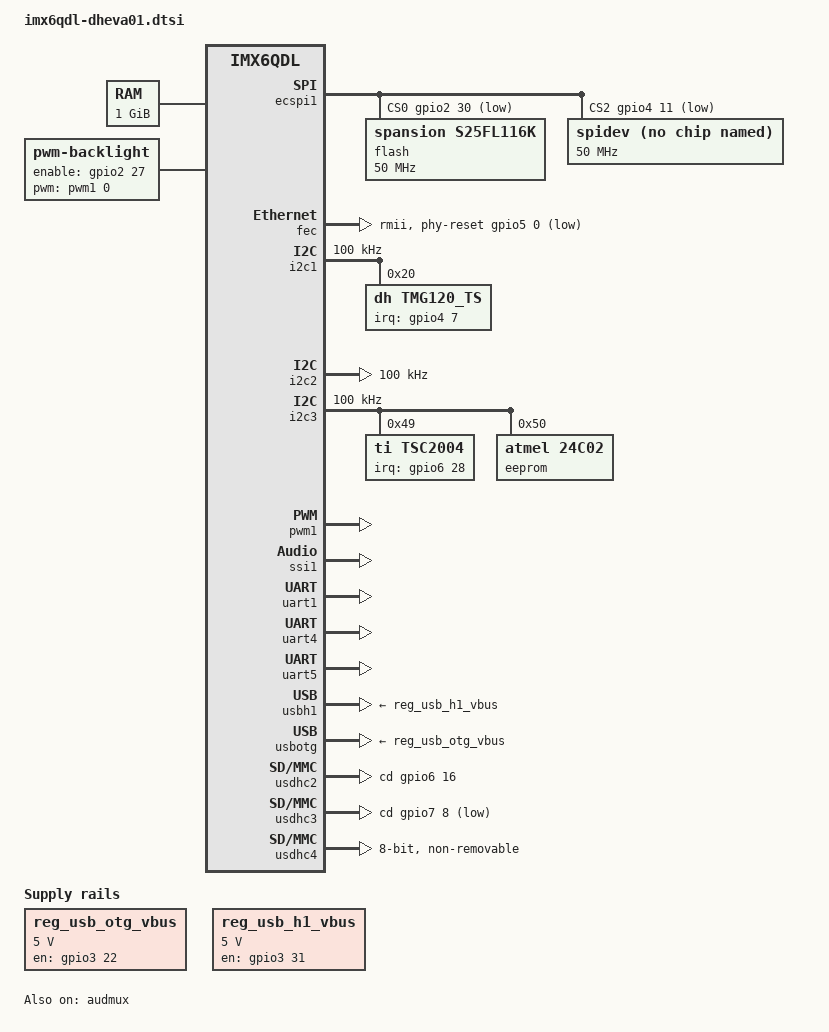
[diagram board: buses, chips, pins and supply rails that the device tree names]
/*
 * Copyright 2014 DH electronics GmbH
 * Copyright 2012 Freescale Semiconductor, Inc.
 * Copyright 2011 Linaro Ltd.
 *
 * The code contained herein is licensed under the GNU General Public
 * License. You may obtain a copy of the GNU General Public License
 * Version 2 or later at the following locations:
 *
 * http://www.opensource.org/licenses/gpl-license.html
 * http://www.gnu.org/copyleft/gpl.html
 */

/ {
	aliases {
		mxcfb0 = &mxcfb1;
		mxcfb1 = &mxcfb2;
		mxcfb2 = &mxcfb3;
		mxcfb3 = &mxcfb4;
	};

	memory {
		reg = <0x10000000 0x40000000>;				// 1GB DDR3 RAM
	};
/*
	display@di0 {
		compatible = "fsl,imx-parallel-display";
		crtcs = <&ipu1 0>;
		interface-pix-fmt = "rgb24";
		pinctrl-names = "default";
		pinctrl-0 = <&pinctrl_ipu1_1>;
		status = "okay";
		display-timings {
			native-mode = <&id_01>;
			id_01: DataImage_4_3inch_FG040360DSSWBG03_R05 {
				clock-frequency = <11100000>;
				hactive = <480>;
				vactive = <272>;
				hback-porch = <86>;
				hfront-porch = <42>;
				vback-porch = <33>;
				vfront-porch = <10>;
				hsync-len = <64>;
				vsync-len = <2>;
				hsync-active = <0>;
				vsync-active = <0>;
				de-active = <1>;
				pixelclk-active = <0>;
			};
			id_13: DataImage_7inch_FG0700G3DSSW {
				clock-frequency = <33260000>;
				hactive = <800>;
				vactive = <480>;
				hback-porch = <86>;
				hfront-porch = <42>;
				vback-porch = <33>;
				vfront-porch = <10>;
				hsync-len = <128>;
				vsync-len = <2>;
				hsync-active = <0>;
				vsync-active = <0>;
				de-active = <1>;
				pixelclk-active = <1>;
			};
			id_10: LG_7inch_LB070WV8 {
				clock-frequency = <33250000>;
				hactive = <800>;
				vactive = <480>;
				hback-porch = <64>;
				hfront-porch = <64>;
				vback-porch = <10>;
				vfront-porch = <10>;
				hsync-len = <128>;
				vsync-len = <25>;
				hsync-active = <1>;
				vsync-active = <1>;
				de-active = <1>;
				pixelclk-active = <0>;
			};
		};
	};*/

	regulators {
		compatible = "simple-bus";

		reg_usb_otg_vbus: usb_otg_vbus {
			compatible = "regulator-fixed";
			regulator-name = "usb_otg_vbus";
			regulator-min-microvolt = <5000000>;
			regulator-max-microvolt = <5000000>;
			gpio = <&gpio3 22 0>;				// OTG ID pin
			enable-active-high;
		};

		reg_usb_h1_vbus: usb_h1_vbus {
			compatible = "regulator-fixed";
			regulator-name = "usb_h1_vbus";
			regulator-min-microvolt = <5000000>;
			regulator-max-microvolt = <5000000>;
			gpio = <&gpio3 31 0>;
			enable-active-high;
		};
	};

	/* TODO GPIOs */
	/*
	gpio-keys {
		compatible = "gpio-keys";

		volume-up {
			label = "Volume Up";
			gpios = <&gpio1 4 0>;
			gpio-key,wakeup;
			linux,code = <115>; 	// KEY_VOLUMEUP
		};

		volume-down {
			label = "Volume Down";
			gpios = <&gpio1 5 0>;
			gpio-key,wakeup;
			linux,code = <114>;	// KEY_VOLUMEDOWN
		};
	};*/

	/* TODO Audio */
	/*
	sound {								// Audio SGTL5000XNAA3/R2
		compatible = "fsl,imx-audio-sgtl5000";
		model = "sgtl5000-audio";
		ssi-controller = <&ssi1>;
		audio-codec = <&codec>;
		audio-routing =
			"Headphone Jack", "HPOUTL",
			"Headphone Jack", "HPOUTR",
			"Ext Spk", "SPKOUTL",
			"Ext Spk", "SPKOUTR",
			"MICBIAS", "AMIC",
			"IN3R", "MICBIAS",
			"DMIC", "MICBIAS",
			"DMICDAT", "DMIC";
		mux-int-port = <1>;
		mux-ext-port = <3>;
	};*/

	mxcfb1: fb@0 {
		compatible = "fsl,mxc_sdc_fb";
		disp_dev = "lcd";
		interface_pix_fmt = "RGB24";
		mode_str ="DH_LCD_ID_13";
		default_bpp = <32>;
		int_clk = <0>;
		late_init = <0>;
		status = "disabled";
	};

	mxcfb2: fb@1 {
		compatible = "fsl,mxc_sdc_fb";
		disp_dev = "lcd";
		interface_pix_fmt = "RGB24";
		mode_str ="DH_LCD_ID_13";
		default_bpp = <32>;
		int_clk = <0>;
		late_init = <0>;
		status = "disabled";
	};

	mxcfb3: fb@2 {
		compatible = "fsl,mxc_sdc_fb";
		disp_dev = "hdmi";
		interface_pix_fmt = "RGB24";
		mode_str ="1920x1080M@60";
		default_bpp = <24>;
		int_clk = <0>;
		late_init = <0>;
		status = "disabled";
	};

	mxcfb4: fb@3 {
		compatible = "fsl,mxc_sdc_fb";
		disp_dev = "ldb";
		interface_pix_fmt = "RGB666";
		mode_str ="LDB-XGA";
		default_bpp = <16>;
		int_clk = <0>;
		late_init = <0>;
		status = "disabled";
	};

	lcd@0 {
		compatible = "fsl,lcd";
		ipu_id = <0>;
		disp_id = <0>;
		default_ifmt = "RGB24";
		pinctrl-names = "default";
		pinctrl-0 = <&pinctrl_ipu1_1>;
		status = "okay";
	};

	backlight {
		compatible = "pwm-backlight";
		pwms = <&pwm1 0 50000>;
		brightness-levels = <0 24 28 32 36 40 44 48 52 56 60 64 68 72 76 80 84 88 92 96 100>;
		default-brightness-level = <10>;
		enable-gpios = <&gpio2 27 0>;
	};

	v4l2_out {
		compatible = "fsl,mxc_v4l2_output";
		status = "okay";
	};
};


&audmux {
	pinctrl-names = "default";
	pinctrl-0 = <&pinctrl_audmux_2>;
	status = "okay";
};

&ecspi1 {								// SPI 1
	fsl,spi-num-chipselects = <4>;
	cs-gpios = <&gpio2 30 1>, <0>, <&gpio4 11 1>, <0>;		// SS0, SS1, SS2, SS3
	pinctrl-names = "default";
	pinctrl-0 = <&pinctrl_ecspi1_1>;
	status = "okay";

	flash: m25p80@0 {						// SPI Flash: Spansion S25FL116K0PMFI010
		#address-cells = <1>;
		#size-cells = <1>;					// TODO: Adjust compatible
		compatible = "spansion,s25fl116k", "macronix,mx25l25635e";
		spi-max-frequency = <50000000>;
		reg = <0>;						// SS0
	};

	spidev@2 {
		compatible = "spidev";
		reg = <2>;						// SS2
		spi-max-frequency = <50000000>;
		spi-cpha;						// Shifted clock phase (CPHA) mode
	/*	spi-cpol;*/						// Inverse clock polarity (CPOL) mode
	};
};

&fec {									// Ethernet 1 (PHY: SMSC LAN8710Ai)
	pinctrl-names = "default";
	pinctrl-0 = <&pinctrl_enet_4>;
	phy-mode = "rmii";
	phy-reset-gpios = <&gpio5 0 1>;
	//phy-reset-duration = 1;					// 1ms is the default value
	status = "okay";
	//local-mac-address = [00 11 22 33 44 55];
};

&gpu {
	pu-supply = <&pu_dummy>; /* ldo-bypass:use pu_dummy if VDDSOC share with VDDPU */
};

&i2c1 {									// I2C 1
	clock-frequency = <100000>;
	pinctrl-names = "default";
	pinctrl-0 = <&pinctrl_i2c1_1>;
	status = "okay";
	
	tmg120_ts@20 {							// Touch controller "DH-Touch"
		compatible = "dh,tmg120_ts";
		reg = <0x20>;
		interrupt-parent = <&gpio4>;
		interrupts = <7 2>;
	};
};

&i2c2 {									// I2C 2
	clock-frequency = <100000>;
	pinctrl-names = "default";
	pinctrl-0 = <&pinctrl_i2c2_2>;
	status = "okay";
};

&i2c3 {									// I2C 3
	clock-frequency = <100000>;
	pinctrl-names = "default";
	pinctrl-0 = <&pinctrl_i2c3_2>;
	status = "okay";

	/* TODO Audio */
	/*
	codec: sgtl5000@0a {						// Codec SGTL5000XNAA3/R2
		compatible = "fsl,sgtl5000";
		reg = <0x0a>;
		clocks = <&clks 201>;
		VDDA-supply = <&reg_audio>;
		VDDIO-supply = <&reg_audio>;
		VDDD-supply = <&reg_audio>;
		gpio-cfg = <
			0x0000 /* 0:Default *//* Remove reopen comment !!
			0x0000 /* 1:Default *//*
			0x0013 /* 2:FN_DMICCLK *//*
			0x0000 /* 3:Default *//*
			0x8014 /* 4:FN_DMICCDAT *//*
			0x0000 /* 5:Default *//*
		>;
	};*/

	/* TODO PMIC */
	/*
	pmic: ltc3676@3c {						// Power Management LTC3676EUJ#PBF
		compatible = "ltc,ltc3676";
		reg = <0x3c>;

		regulators {
			sw1_reg: ltc3676__sw1 {
				regulator-min-microvolt = <1175000>;
				regulator-max-microvolt = <1175000>;
				regulator-boot-on;
				regulator-always-on;
			};

			sw2_reg: ltc3676__sw2 {
				regulator-min-microvolt = <1800000>;
				regulator-max-microvolt = <1800000>;
				regulator-boot-on;
				regulator-always-on;
			};

			sw3_reg: ltc3676__sw3 {
				regulator-min-microvolt = <1175000>;
				regulator-max-microvolt = <1175000>;
				regulator-boot-on;
				regulator-always-on;
			};

			sw4_reg: ltc3676__sw4 {
				regulator-min-microvolt = <1500000>;
				regulator-max-microvolt = <1500000>;
				regulator-boot-on;
				regulator-always-on;
			};

			ldo2_reg: ltc3676__ldo2 {
				regulator-min-microvolt = <2500000>;
				regulator-max-microvolt = <2500000>;
				regulator-boot-on;
				regulator-always-on;
			};

			ldo4_reg: ltc3676__ldo4 {
				regulator-min-microvolt = <3000000>;
				regulator-max-microvolt = <3000000>;
			};
		};
	};*/

	tsc2004@49 {							// Touch controller TI TSC2004
		compatible = "ti,tsc2004";
		reg = <0x49>;
		tsc_model =  <2004>;
		interrupt-parent = <&gpio6>;
		interrupts = <28 2>;
		irq-gpios = <&gpio6 28 0>;
	};
	
	eeprom@50 {							// EEPROM Microchip 24AA02E48T-I/OT
		compatible = "atmel,24c02";
		reg = <0x50>;
		pagesize = <8>;
	};

	/* Use internal rtc in default case */
	/*
	rtc@56 {							// Micro Crystal RV-3029-C3
		device_type = "rtc";
		compatible = "microc,rtc-rv3029c3", "microc,rtc-rv3029c2";
		reg = <0x56>;
	};*/
};

&iomuxc {
	pinctrl-names = "default";
	pinctrl-0 = <&pinctrl_hog>;

	hog {
		pinctrl_hog: hoggrp {
			fsl,pins = <
				MX6QDL_PAD_NANDF_CS3__GPIO6_IO16  0x80000000	// SD card card detection
				MX6QDL_PAD_SD3_RST__GPIO7_IO08    0x80000000	// Mirco SD card (onBoard) card detection
				MX6QDL_PAD_EIM_D31__GPIO3_IO31    0x80000000	// USB Host 1 Power
				MX6QDL_PAD_EIM_D27__GPIO3_IO27    0x80000000	// GPIO G -> Backlight Enable
				MX6QDL_PAD_SD1_DAT3__PWM1_OUT     0x80000000	// PWM -> Backlight Enable
				MX6QDL_PAD_RGMII_RD2__GPIO6_IO28  0x80000000	// Touch Interrupt resistive
				MX6QDL_PAD_KEY_ROW0__GPIO4_IO07   0x80000000	// GPIO H -> Touch Interrupt picoITX dh-touch
				MX6QDL_PAD_DI0_PIN4__GPIO4_IO20   0x1b0b0	// GPIO F
				/*
				MX6QDL_PAD_GPIO_4__GPIO1_IO04   0x80000000
				MX6QDL_PAD_GPIO_5__GPIO1_IO05   0x80000000
				MX6QDL_PAD_NANDF_D0__GPIO2_IO00 0x80000000
				MX6QDL_PAD_NANDF_D1__GPIO2_IO01 0x80000000
				MX6QDL_PAD_NANDF_D2__GPIO2_IO02 0x80000000
				MX6QDL_PAD_NANDF_D3__GPIO2_IO03 0x80000000
				MX6QDL_PAD_GPIO_0__CCM_CLKO1    0x130b0
				MX6QDL_PAD_NANDF_CLE__GPIO6_IO07 0x80000000
				MX6QDL_PAD_ENET_TXD1__GPIO1_IO29 0x80000000
				MX6QDL_PAD_EIM_D22__GPIO3_IO22  0x80000000
				*/
			>;
		};
	};
};

/* LVDS Display */
/*
&ldb {
	status = "okay";

	lvds-channel@1 {
		fsl,data-mapping = "spwg";
		fsl,data-width = <18>;
		status = "okay";

		display-timings {
			native-mode = <&timing0>;
			timing0: hsd100pxn1 {
				clock-frequency = <65000000>;
				hactive = <1024>;
				vactive = <768>;
				hback-porch = <220>;
				hfront-porch = <40>;
				vback-porch = <21>;
				vfront-porch = <7>;
				hsync-len = <60>;
				vsync-len = <10>;
			};
		};
	};
};*/

&pwm1 {									// Used for backlight
	pinctrl-names = "default";
	pinctrl-0 = <&pinctrl_pwm1_1>;
	status = "okay";
};

&ssi1 {									// Used for sound
	fsl,mode = "i2s-slave";
	status = "okay";
};

&uart1 {								// UART 1 (FF)
	pinctrl-names = "default";
	pinctrl-0 = <&pinctrl_uart1_2>;
	fsl,uart-has-rtscts;
	status = "okay";
};

&uart4 {								// UART 3
	pinctrl-names = "default";
	pinctrl-0 = <&pinctrl_uart4_2>;
	status = "okay";
};

&uart5 {								// UART 2 (BT)
	pinctrl-names = "default";
	pinctrl-0 = <&pinctrl_uart5_1>;
	fsl,uart-has-rtscts;
	status = "okay";
};

&usbh1 {								// USB Host 1
	vbus-supply = <&reg_usb_h1_vbus>;
	status = "okay";
};

&usbotg {								// USB OTG
	vbus-supply = <&reg_usb_otg_vbus>;
	pinctrl-names = "default";
	pinctrl-0 = <&pinctrl_usbotg_1>;
	disable-over-current;
	status = "okay";
};

&usdhc2 {								// SD card
	pinctrl-names = "default";
	pinctrl-0 = <&pinctrl_usdhc2_2>;
	cd-gpios = <&gpio6 16 0>;
	fsl,wp-controller;
	status = "okay";
};

&usdhc3 {								// Mirco SD card (onBoard)
	pinctrl-names = "default";
	pinctrl-0 = <&pinctrl_usdhc3_2>;
	cd-gpios = <&gpio7 8 1>;
	fsl,wp-controller;
	status = "okay";
};

&usdhc4 {								// eMMC (onBoard)
	pinctrl-names = "default";
	pinctrl-0 = <&pinctrl_usdhc4_1>;
	non-removable;
	bus-width = <8>;
	status = "okay";
};

&vpu {
	pu-supply = <&pu_dummy>;					// ldo-bypass:use pu_dummy if VDDSOC share with VDDPU
};
